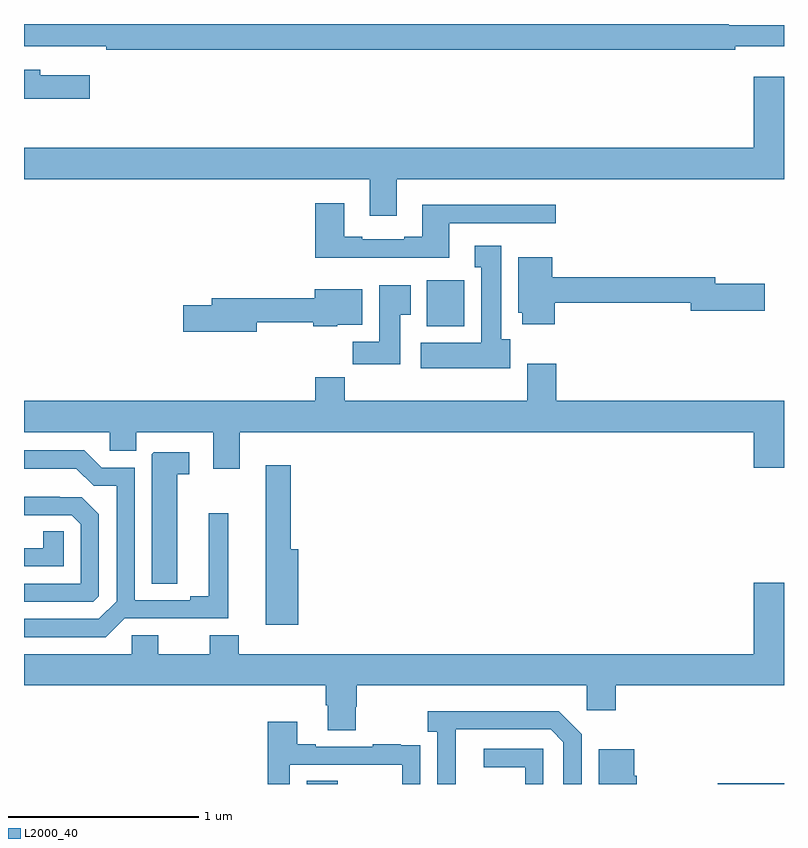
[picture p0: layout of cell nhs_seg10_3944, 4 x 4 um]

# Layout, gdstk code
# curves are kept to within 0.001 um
import gdstk
lib = gdstk.Library(unit=1e-6, precision=1e-09)
def R(c, l, rs):  # rectangles x0, y0, x1, y1
    for r in rs: c.add(gdstk.rectangle(r[:2], r[2:], *l))
def P(c, l, *ps):  # polygons
    for p in ps: c.add(gdstk.Polygon(p, *l))
L2000_40 = (2000, 40)

nhs_seg10_3944 = lib.new_cell('nhs_seg10_3944')
R(nhs_seg10_3944, L2000_40, [(330.488,1262.5,330.652,1262.516), (332.651,1262.5,333,1262.504), (331.121,1264.91,331.318,1265.152)])
P(nhs_seg10_3944, L2000_40, [(332.744,1266.383),(333,1266.383),(333,1266.493),(332.71,1266.493),(332.71,1266.5),(329,1266.5),(329,1266.384),(329.182,1266.384),(329.182,1266.383),(329.434,1266.383),(329.434,1266.364),(332.744,1266.364)],
  [(329.347,1266.229),(329.086,1266.229),(329.086,1266.258),(329,1266.258),(329,1266.107),(329.347,1266.107)],
  [(330.961,1265.684),(333,1265.684),(333,1266.223),(332.84,1266.223),(332.84,1265.848),(329,1265.848),(329,1265.684),(330.821,1265.684),(330.821,1265.49),(330.961,1265.49)],
  [(331.237,1265.451),(331.798,1265.451),(331.798,1265.548),(331.097,1265.548),(331.097,1265.38),(331.001,1265.38),(331.001,1265.367),(330.781,1265.367),(330.781,1265.38),(330.685,1265.38),(330.685,1265.557),(330.533,1265.557),(330.533,1265.27),(331.237,1265.27)],
  [(331.558,1264.842),(331.513,1264.842),(331.513,1265.332),(331.373,1265.332),(331.373,1265.219),(331.406,1265.219),(331.406,1264.822),(331.089,1264.822),(331.089,1264.688),(331.558,1264.688)],
  [(331.793,1265.032),(332.51,1265.032),(332.51,1264.99),(332.899,1264.99),(332.899,1265.132),(332.638,1265.132),(332.638,1265.168),(331.78,1265.168),(331.78,1265.272),(331.601,1265.272),(331.601,1264.98),(331.622,1264.98),(331.622,1264.92),(331.793,1264.92)],
  [(330.979,1264.969),(331.036,1264.969),(331.036,1265.125),(330.869,1265.125),(330.869,1264.828),(330.73,1264.828),(330.73,1264.71),(330.979,1264.71)],
  [(330.226,1264.929),(330.523,1264.929),(330.523,1264.91),(330.648,1264.91),(330.648,1264.916),(330.781,1264.916),(330.781,1265.104),(330.53,1265.104),(330.53,1265.057),(329.987,1265.057),(329.987,1265.021),(329.838,1265.021),(329.838,1264.879),(330.226,1264.879)],
  [(330.136,1264.352),(332.84,1264.352),(332.84,1264.164),(333,1264.164),(333,1264.516),(331.802,1264.516),(331.802,1264.711),(331.649,1264.711),(331.649,1264.516),(330.689,1264.516),(330.689,1264.64),(330.533,1264.64),(330.533,1264.516),(329,1264.516),(329,1264.352),(329.451,1264.352),(329.451,1264.254),(329.59,1264.254),(329.59,1264.352),(329.996,1264.352),(329.996,1264.158),(330.136,1264.158)],
  [(329.53,1263.372),(330.076,1263.372),(330.076,1263.925),(329.972,1263.925),(329.972,1263.488),(329.876,1263.488),(329.876,1263.468),(329.583,1263.468),(329.583,1264.164),(329.409,1264.164),(329.316,1264.257),(329,1264.257),(329,1264.16),(329.275,1264.16),(329.366,1264.069),(329.487,1264.069),(329.487,1263.462),(329.394,1263.369),(329,1263.369),(329,1263.273),(329.431,1263.273)],
  [(329.806,1264.129),(329.869,1264.129),(329.869,1264.245),(329.682,1264.245),(329.672,1264.235),(329.672,1263.553),(329.806,1263.553)],
  [(330.443,1263.736),(330.404,1263.736),(330.404,1264.177),(330.272,1264.177),(330.272,1263.338),(330.443,1263.338)],
  [(329.394,1263.489),(329.394,1263.921),(329.305,1264.01),(329.189,1264.01),(329.189,1264.012),(329,1264.012),(329,1263.915),(329.25,1263.915),(329.298,1263.867),(329.298,1263.555),(329,1263.555),(329,1263.459),(329.364,1263.459)],
  [(329.208,1263.83),(329.1,1263.83),(329.1,1263.742),(329,1263.742),(329,1263.645),(329.208,1263.645)],
  [(330.747,1262.907),(330.752,1262.907),(330.752,1263.02),(331.962,1263.02),(331.962,1262.889),(332.114,1262.889),(332.114,1263.02),(333,1263.02),(333,1263.559),(332.84,1263.559),(332.84,1263.184),(330.131,1263.184),(330.131,1263.283),(329.978,1263.283),(329.978,1263.184),(329.707,1263.184),(329.707,1263.282),(329.568,1263.282),(329.568,1263.184),(329,1263.184),(329,1263.02),(330.587,1263.02),(330.587,1262.914),(330.599,1262.914),(330.599,1262.782),(330.747,1262.782)],
  [(331.272,1262.587),(331.273,1262.787),(331.773,1262.787),(331.839,1262.721),(331.839,1262.5),(331.935,1262.5),(331.935,1262.763),(331.814,1262.884),(331.125,1262.884),(331.125,1262.774),(331.176,1262.774),(331.176,1262.5),(331.272,1262.5)],
  [(330.399,1262.601),(330.99,1262.601),(330.99,1262.5),(331.086,1262.5),(331.086,1262.594),(331.085,1262.594),(331.085,1262.703),(330.983,1262.703),(330.983,1262.71),(330.835,1262.71),(330.835,1262.697),(330.535,1262.697),(330.535,1262.71),(330.439,1262.71),(330.439,1262.827),(330.283,1262.827),(330.283,1262.5),(330.399,1262.5)],
  [(331.734,1262.685),(331.419,1262.685),(331.419,1262.589),(331.638,1262.589),(331.638,1262.5),(331.734,1262.5)],
  [(332.224,1262.544),(332.212,1262.544),(332.212,1262.683),(332.024,1262.683),(332.024,1262.5),(332.224,1262.5)])

lib.write_gds('nhs_seg10_3944.gds')
